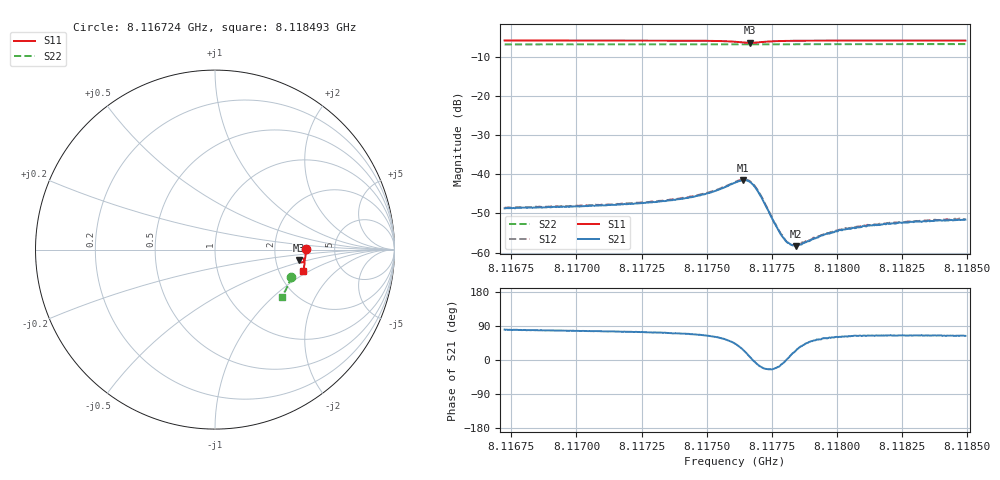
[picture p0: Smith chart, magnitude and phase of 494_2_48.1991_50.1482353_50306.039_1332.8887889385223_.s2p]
#  HZ  S  RI  R  50.00
! Rohde & Schwarz Vector Network Analyzer
! Rohde-Schwarz,ZNB20-2Port,1311601062101988,3.16
! Created: UTC 3/20/2024, 11:58:11 AM
! freq[Hz]  re:S11  im:S11  re:S21  im:S21  re:S12  im:S12  re:S22  im:S22
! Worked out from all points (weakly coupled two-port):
!   401 points, 8.116724 GHz to 8.118493 GHz, reference 50 ohm
!   highest |S21| = -41.51 dB at 8.11764 GHz (marker M1); lowest = -58.4 dB at 8.117843 GHz (marker M2)
!   lowest |S11| = -6.5 dB at 8.117666 GHz (marker M3), VSWR 2.79, Z = 136 - j20.4 ohm
!   |S11| at or under -10 dB: nowhere
!   |S22| runs from -6.9 to -6.8 dB; largest |S21 - S12| = 0.0002
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8.1167241e9  0.5068 0.00508  0.000615 0.0036  0.000704 0.00368  0.4249 -0.15
8.1170205e9  0.506 -0.018  0.000894 0.00378  0.000958 0.00386  0.4182 -0.1698
8.1173168e9  0.5034 -0.0423  0.00136 0.00425  0.00142 0.00433  0.4108 -0.1891
8.1174229e9  0.5014 -0.0521  0.00177 0.00463  0.00186 0.0047  0.4079 -0.196
8.1174849e9  0.4989 -0.0587  0.00227 0.00498  0.00237 0.00507  0.406 -0.1999
8.1175424e9  0.4948 -0.0655  0.00315 0.00543  0.00323 0.00549  0.4042 -0.2038
8.1176087e9  0.4827 -0.0719  0.00565 0.00532  0.00582 0.0054  0.4017 -0.2078
8.1176397e9  0.4733 -0.0684  0.0075 0.00379  0.00764 0.00386  0.4003 -0.2094
8.1176662e9  0.4694 -0.0582  0.00786 0.00109  0.00805 0.00108  0.3995 -0.2105
8.1176839e9  0.4723 -0.051  0.00691 -0.000576  0.00709 -0.000625  0.3993 -0.2113
8.1177016e9  0.4781 -0.0472  0.00546 -0.00149  0.00561 -0.00152  0.3992 -0.2123
8.1177679e9  0.4941 -0.053  0.00201 -0.000748  0.00203 -0.000768  0.3978 -0.2167
8.1177945e9  0.4964 -0.057  0.00153 -0.000203  0.00153 -0.000229  0.397 -0.2186
8.1178033e9  0.4969 -0.0584  0.00141 -3.8e-05  0.00142 -3.6e-05  0.3969 -0.2192
8.1178166e9  0.4976 -0.0603  0.00131 0.000172  0.00133 0.000168  0.3964 -0.2198
8.1178343e9  0.498 -0.0627  0.00116 0.000417  0.00118 0.000424  0.3959 -0.2211
8.1178431e9  0.4984 -0.0637  0.00109 0.000514  0.00113 0.000538  0.3957 -0.2216
8.117905e9  0.4988 -0.0709  0.000957 0.00113  0.00097 0.00112  0.3937 -0.2256
8.1179581e9  0.4987 -0.0762  0.000922 0.00145  0.000914 0.00145  0.3919 -0.229
8.1180156e9  0.4982 -0.0815  0.000938 0.00169  0.000937 0.00172  0.3901 -0.2325
8.1182014e9  0.4958 -0.097  0.000984 0.00211  0.00104 0.00216  0.3837 -0.2442
8.1184933e9  0.4908 -0.1194  0.00116 0.00235  0.00119 0.00238  0.373 -0.2615
